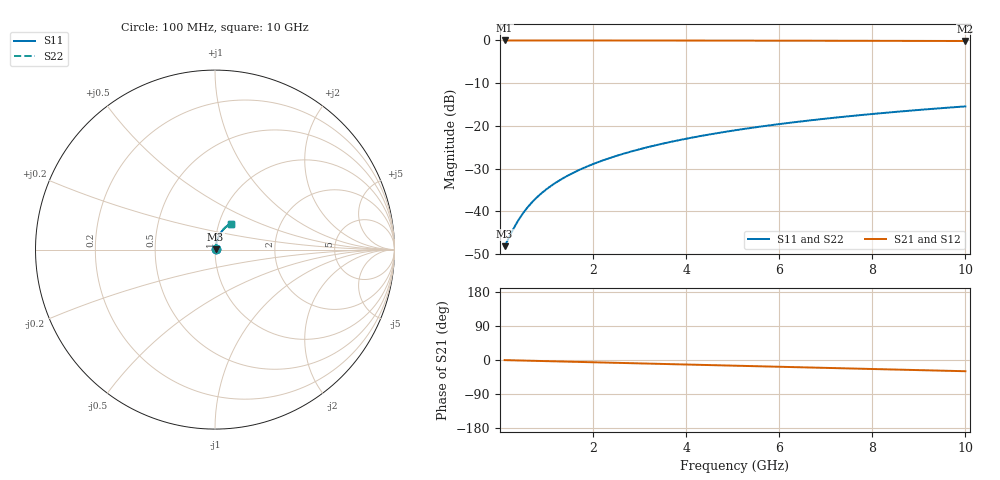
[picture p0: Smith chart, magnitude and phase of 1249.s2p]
# Hz S RI R 50.00
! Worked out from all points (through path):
!   100 points, 100 MHz to 10 GHz, reference 50 ohm
!   highest |S21| = -0.03 dB at 100 MHz (marker M1); lowest = -0.2 dB at 10 GHz (marker M2)
!   group delay of S21, straight-line fit = 8.23 ps
!   lowest |S11| = -48.2 dB at 100 MHz (marker M3), VSWR 1.01, Z = 50.3 + j0.177 ohm
!   |S11| at or under -10 dB: start of sweep to end of sweep
!   |S22| runs from -48.2 to -15.5 dB; largest |S21 - S12| = 0
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1e8  0.00349 0.00176  0.9965 -0.00518  0.9965 -0.00518  0.00349 0.00176
3e8  0.0036 0.00528  0.9963 -0.0155  0.9963 -0.0155  0.0036 0.00528
4e8  0.00367 0.00703  0.9962 -0.0207  0.9962 -0.0207  0.00367 0.00703
5e8  0.00377 0.00879  0.9961 -0.0259  0.9961 -0.0259  0.00377 0.00879
6e8  0.00388 0.0105  0.9959 -0.0311  0.9959 -0.0311  0.00388 0.0105
7e8  0.004 0.0123  0.9957 -0.0363  0.9957 -0.0363  0.004 0.0123
8e8  0.00415 0.0141  0.9955 -0.0414  0.9955 -0.0414  0.00415 0.0141
1e9  0.00449 0.0176  0.9949 -0.0518  0.9949 -0.0518  0.00449 0.0176
1.2e9  0.0049 0.021  0.9942 -0.0621  0.9942 -0.0621  0.0049 0.021
1.5e9  0.00566 0.0263  0.993 -0.0776  0.993 -0.0776  0.00566 0.0263
1.8e9  0.00657 0.0315  0.9915 -0.0931  0.9915 -0.0931  0.00657 0.0315
2.1e9  0.00765 0.0366  0.9897 -0.1085  0.9897 -0.1085  0.00765 0.0366
2.5e9  0.00933 0.0434  0.9869 -0.129  0.9869 -0.129  0.00933 0.0434
2.9e9  0.0113 0.0502  0.9837 -0.1494  0.9837 -0.1494  0.0113 0.0502
3.4e9  0.0141 0.0585  0.979 -0.1748  0.979 -0.1748  0.0141 0.0585
4.2e9  0.0196 0.0714  0.9699 -0.2151  0.9699 -0.2151  0.0196 0.0714
5.1e9  0.0269 0.0853  0.9576 -0.2598  0.9576 -0.2598  0.0269 0.0853
5.9e9  0.0345 0.097  0.9447 -0.2988  0.9447 -0.2988  0.0345 0.097
6.7e9  0.043 0.108  0.9302 -0.337  0.9302 -0.337  0.043 0.108
7.5e9  0.0524 0.1183  0.914 -0.3745  0.914 -0.3745  0.0524 0.1183
8.4e9  0.0639 0.1289  0.8938 -0.4155  0.8938 -0.4155  0.0639 0.1289
1e10  0.0864 0.1448  0.8534 -0.4853  0.8534 -0.4853  0.0864 0.1448
